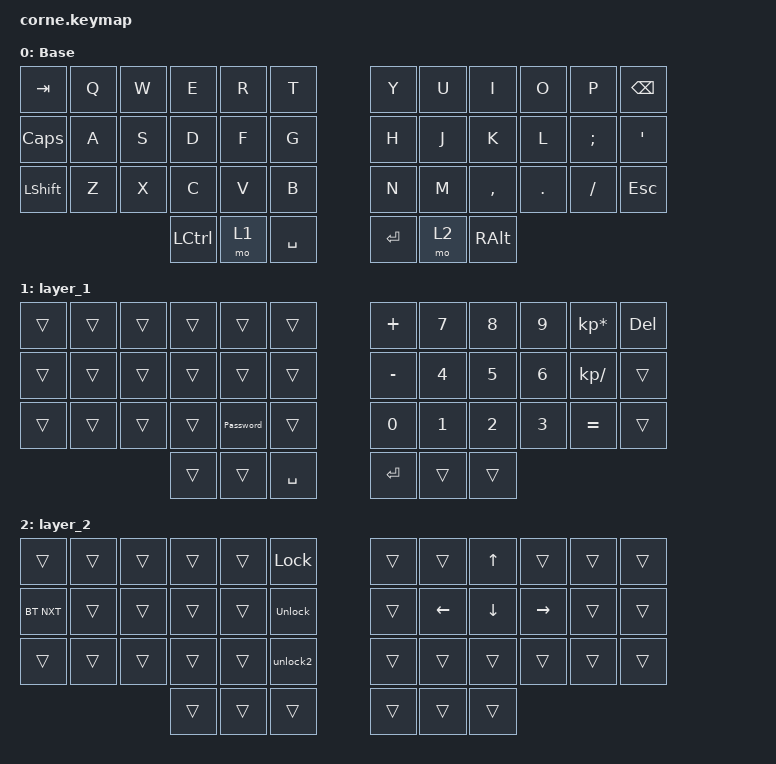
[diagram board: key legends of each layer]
/*
 * Copyright (c) 2020 The ZMK Contributors
 *
 * SPDX-License-Identifier: MIT
 */

#include <behaviors.dtsi>
#include <dt-bindings/zmk/bt.h>
#include <dt-bindings/zmk/keys.h>

/ {
    macros {
        Lock: Lock {
            compatible = "zmk,behavior-macro";
            #binding-cells = <0>;
            bindings = <&kp LG(L) &kp KP_ENTER>;
            label = "LOCK";
        };

        Unlock: Unlock {
            compatible = "zmk,behavior-macro";
            #binding-cells = <0>;
            bindings = <&kp LC(LA(DELETE))>;
            label = "UNLOCK";
        };

        unlock2: unlock2 {
            compatible = "zmk,behavior-macro";
            #binding-cells = <0>;
            bindings = <&sk LCTRL &sk LEFT_ALT &kp DEL>;
            label = "UNLOCK2";
        };

        Password: Password {
            compatible = "zmk,behavior-macro";
            #binding-cells = <0>;
            bindings = <&kp LS(E) &kp L &kp E &kp N &kp AT &kp LS(C) &kp A &kp R &kp L &kp N0 &kp S &kp N1 &kp N1 &kp N1 &kp N0>;
            label = "PASSWORD";
        };
    };

    keymap {
        compatible = "zmk,keymap";

        default_layer {
            // -----------------------------------------------------------------------------------------
            // |  TAB |  Q  |  W  |  E  |  R  |  T  |   |  Y  |  U   |  I  |  O  |  P  | BKSP |
            // | CTRL |  A  |  S  |  D  |  F  |  G  |   |  H  |  J   |  K  |  L  |  ;  |  '   |
            // | SHFT |  Z  |  X  |  C  |  V  |  B  |   |  N  |  M   |  ,  |  .  |  /  | ESC  |
            //                    | GUI | LWR | SPC |   | ENT | RSE  | ALT |

            display-name = "Base";
            bindings = <
&kp TAB    &kp Q  &kp W  &kp E      &kp R  &kp T        &kp Y    &kp U  &kp I      &kp O    &kp P     &kp BSPC
&kp CAPS   &kp A  &kp S  &kp D      &kp F  &kp G        &kp H    &kp J  &kp K      &kp L    &kp SEMI  &kp SQT
&kp LSHFT  &kp Z  &kp X  &kp C      &kp V  &kp B        &kp N    &kp M  &kp COMMA  &kp DOT  &kp FSLH  &kp ESC
                         &kp LCTRL  &mo 1  &kp SPACE    &kp RET  &mo 2  &kp RALT
            >;
        };

        layer_1 {
            bindings = <
&trans  &trans  &trans  &trans  &trans     &trans       &kp PLUS   &kp N7        &kp N8        &kp N9        &kp KP_MULTIPLY  &kp DELETE
&trans  &trans  &trans  &trans  &trans     &trans       &kp MINUS  &kp NUMBER_4  &kp N5        &kp NUMBER_6  &kp KP_DIVIDE    &trans
&trans  &trans  &trans  &trans  &Password  &trans       &kp N0     &kp NUMBER_1  &kp NUMBER_2  &kp NUMBER_3  &kp EQUAL        &trans
                        &trans  &trans     &kp SPACE    &kp ENTER  &trans        &trans
            >;
        };

        layer_2 {
            bindings = <
&trans      &trans  &trans  &trans  &trans  &Lock       &trans  &trans    &kp UP_ARROW  &trans     &trans  &trans
&bt BT_NXT  &trans  &trans  &trans  &trans  &Unlock     &trans  &kp LEFT  &kp DOWN      &kp RIGHT  &trans  &trans
&trans      &trans  &trans  &trans  &trans  &unlock2    &trans  &trans    &trans        &trans     &trans  &trans
                            &trans  &trans  &trans      &trans  &trans    &trans
            >;
        };
    };
};
